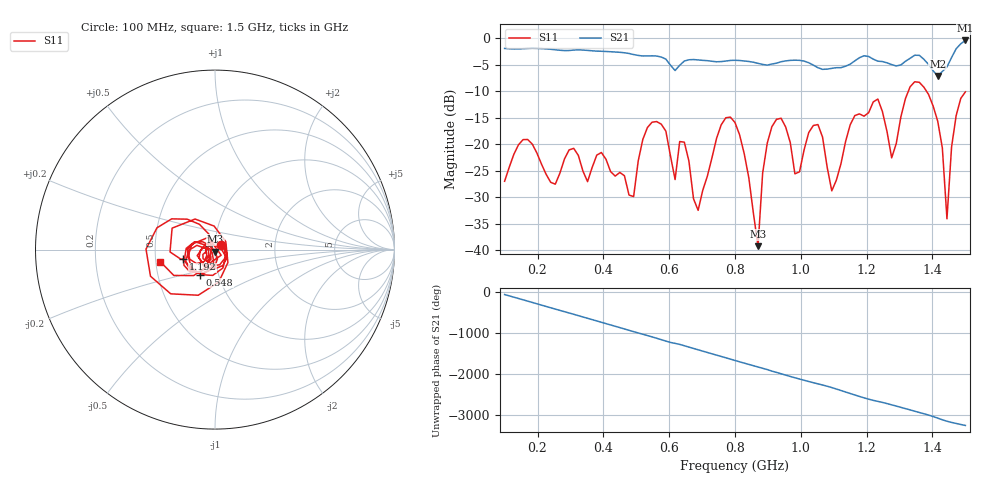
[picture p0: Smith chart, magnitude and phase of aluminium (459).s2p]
! NanoVNA-App
! Date: 2025-09-25 14:58:51
! Start: 100MHz Stop: 1,5GHz Points: 101
! S-Parameter data: F S11 S21 S12 S22
# Hz S RI R 50
!  Frequency  S11_Real  S11_Imag  S21_Real  S21_Imag  S12_Real  S12_Imag  S22_Real  S22_Imag
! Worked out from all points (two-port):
!   101 points, 100 MHz to 1.5 GHz, reference 50 ohm
!   highest |S21| = -0.42 dB at 1.5 GHz (marker M1); lowest = -7.1 dB at 1.416 GHz (marker M2)
!   |S21| within 3 dB of the highest: start of sweep to 566.7 MHz; 1.46 GHz to end of sweep (the widest 2 of 4)
!   lowest |S11| = -39.2 dB at 870 MHz (marker M3), VSWR 1.02, Z = 50.2 - j1.08 ohm
!   |S11| at or under -10 dB: start of sweep to 1.327 GHz; 1.382 GHz to end of sweep
!   S12 and S22 are empty: the file has one direction only
!   S11 on the Smith chart (normalised r, x): 100 MHz: 1.07, +0.06; 548 MHz: 0.82, -0.23; 1.192 GHz: 0.70, -0.08; 1.5 GHz: 0.53, -0.08
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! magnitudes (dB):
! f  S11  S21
! 100 MHz  -27.0  -1.9
! 156 MHz  -19.1  -2.0
! 338 MHz  -25.0  -2.2
! 492 MHz  -29.8  -3.1
! 548 MHz  -15.8  -3.3
! 576 MHz  -16.2  -3.5
! 646 MHz  -19.6  -4.3
! 688 MHz  -32.4  -4.1
! 800 MHz  -15.9  -4.2
! 870 MHz  -39.2  -4.7
! 912 MHz  -16.7  -4.9
! 982 MHz  -25.6  -4.1
! 1.038 GHz  -16.4  -5.1
! 1.094 GHz  -28.8  -5.7
! 1.192 GHz  -14.7  -3.3
! 1.234 GHz  -11.5  -4.3
! 1.276 GHz  -22.5  -5.0
! 1.346 GHz  -8.2  -3.2
! 1.416 GHz  -15.7  -7.1
! 1.444 GHz  -34.0  -5.4
! 1.458 GHz  -20.5  -3.6
! 1.5 GHz  -10.1  -0.4
